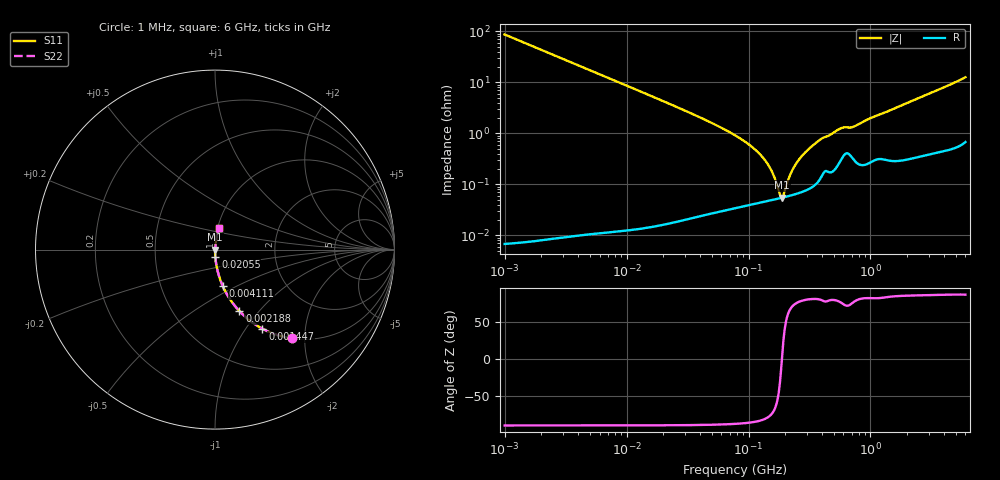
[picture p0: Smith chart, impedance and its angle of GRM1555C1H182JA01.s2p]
!Murata Part Number: GRM1555C1H182JA01
!These Parameters are Measured in Series Mode Connection
!Data Generated on Mar 30, 2021
!  o--ll--o
!Port1  Port2
!  o------o
!Operation Temp=25[degC], DC Bias Voltage=0[V]
!Freq. Start=1000[kHz] Stop=6[GHz] 401[Steps]
# Hz S RI R 50
!Freq.(Hz) S11(Real) S11(Imag) S21(Real) S21(Imag) S12(Real) S12(Imag) S22(Real) S22(Imag)
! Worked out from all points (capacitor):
!   401 points, 1 MHz to 6 GHz, reference 50 ohm
!   read as one part in series: C = 1.84 nF near 1.044 MHz
!   lowest |Z| = 55.2 mohm at 188.9 MHz (marker M1)
!   series resonance near 187.8 MHz, so ESL is about 390 pH
!   S11 on the Smith chart (normalised r, x): 1 MHz: 1.00, -1.73; 1.447 MHz: 1.00, -1.20; 2.188 MHz: 1.00, -0.79; 4.111 MHz: 1.00, -0.42; 20.55 MHz: 1.00, -0.08; 6 GHz: 1.01, +0.25
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1000000  0.4291 -0.4949  0.5709 0.4949  0.5709 0.4949  0.4291 -0.4949
1447343  0.264 -0.4408  0.736 0.4408  0.736 0.4408  0.264 -0.4408
2187931  0.1357 -0.3424  0.8643 0.3424  0.8643 0.3424  0.1357 -0.3424
4111020  0.0426 -0.2017  0.9574 0.2017  0.9574 0.2017  0.0426 -0.2017
4293785  0.0392 -0.1938  0.9608 0.1938  0.9608 0.1938  0.0392 -0.1938
1.843659e7  0.00231 -0.0464  0.9977 0.0464  0.9977 0.0464  0.00231 -0.0464
2.055453e7  0.00189 -0.0415  0.9981 0.0415  0.9981 0.0415  0.00189 -0.0415
7.745967e7  0.000425 -0.00917  0.9996 0.00917  0.9996 0.00917  0.000425 -0.00917
1.073387e8  0.000434 -0.00535  0.9996 0.00535  0.9996 0.00535  0.000434 -0.00535
1.334167e8  0.000464 -0.00316  0.9995 0.00316  0.9995 0.00316  0.000464 -0.00316
1.520136e8  0.000491 -0.00193  0.9995 0.00193  0.9995 0.00193  0.000491 -0.00193
1.809028e8  0.000536 -0.000338  0.9995 0.000338  0.9995 0.000338  0.000536 -0.000338
1.889453e8  0.000549 5.63e-05  0.9995 -5.63e-05  0.9995 -5.63e-05  0.000549 5.63e-05
1.973453e8  0.000564 0.000451  0.9994 -0.000451  0.9994 -0.000451  0.000564 0.000451
2.200158e8  0.000605 0.00144  0.9994 -0.00144  0.9994 -0.00144  0.000605 0.00144
2.400133e8  0.000644 0.00225  0.9994 -0.00225  0.9994 -0.00225  0.000644 0.00225
2.734687e8  0.00072 0.00351  0.9993 -0.00351  0.9993 -0.00351  0.00072 0.00351
3.325952e8  0.000915 0.00558  0.9991 -0.00558  0.9991 -0.00558  0.000915 0.00558
5.60538e8  0.00288 0.0119  0.9971 -0.0119  0.9971 -0.0119  0.00288 0.0119
7.276953e8  0.00321 0.0131  0.9968 -0.0131  0.9968 -0.0131  0.00321 0.0131
1.428092e9  0.00367 0.0275  0.9963 -0.0275  0.9963 -0.0275  0.00367 0.0275
6e9  0.022 0.1221  0.978 -0.1221  0.978 -0.1221  0.022 0.1221
